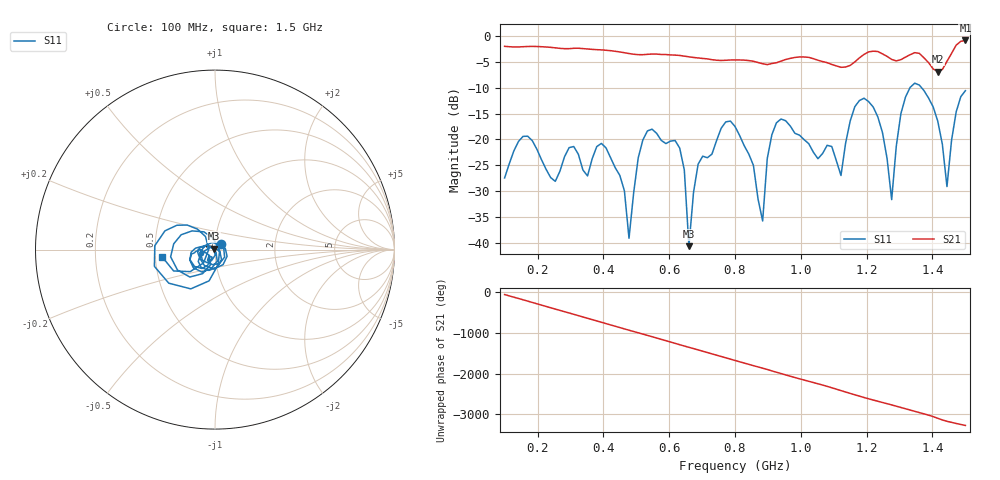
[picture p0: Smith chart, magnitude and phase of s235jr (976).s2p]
! NanoVNA-App
! Date: 2025-09-25 15:11:46
! Start: 100MHz Stop: 1,5GHz Points: 101
! S-Parameter data: F S11 S21 S12 S22
# Hz S RI R 50
!  Frequency  S11_Real  S11_Imag  S21_Real  S21_Imag  S12_Real  S12_Imag  S22_Real  S22_Imag
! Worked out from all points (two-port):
!   101 points, 100 MHz to 1.5 GHz, reference 50 ohm
!   highest |S21| = -0.83 dB at 1.5 GHz (marker M1); lowest = -6.9 dB at 1.416 GHz (marker M2)
!   |S21| within 3 dB of the highest: start of sweep to 641.9 MHz; 1.186 GHz to 1.259 GHz (73.63 MHz wide, 6.02 % of centre) (the widest 2 of 4)
!   lowest |S11| = -40.7 dB at 660 MHz (marker M3), VSWR 1.02, Z = 49.3 + j0.589 ohm
!   |S11| at or under -10 dB: start of sweep to 1.332 GHz; 1.367 GHz to end of sweep
!   S12 and S22 are empty: the file has one direction only
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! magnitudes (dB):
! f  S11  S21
! 100 MHz  -27.5  -2.0
! 156 MHz  -19.4  -2.0
! 338 MHz  -25.9  -2.4
! 408 MHz  -21.6  -2.7
! 478 MHz  -39.2  -3.4
! 520 MHz  -20.1  -3.6
! 576 MHz  -20.2  -3.5
! 632 MHz  -21.7  -3.7
! 660 MHz  -40.7  -4.0
! 688 MHz  -24.8  -4.2
! 800 MHz  -17.5  -4.6
! 884 MHz  -35.8  -5.3
! 926 MHz  -16.8  -5.1
! 1.038 GHz  -22.5  -4.4
! 1.122 GHz  -27.0  -6.0
! 1.192 GHz  -12.0  -3.5
! 1.248 GHz  -18.7  -3.4
! 1.276 GHz  -31.7  -4.5
! 1.332 GHz  -9.9  -3.6
! 1.416 GHz  -16.5  -6.9
! 1.444 GHz  -29.1  -4.9
! 1.5 GHz  -10.6  -0.8
